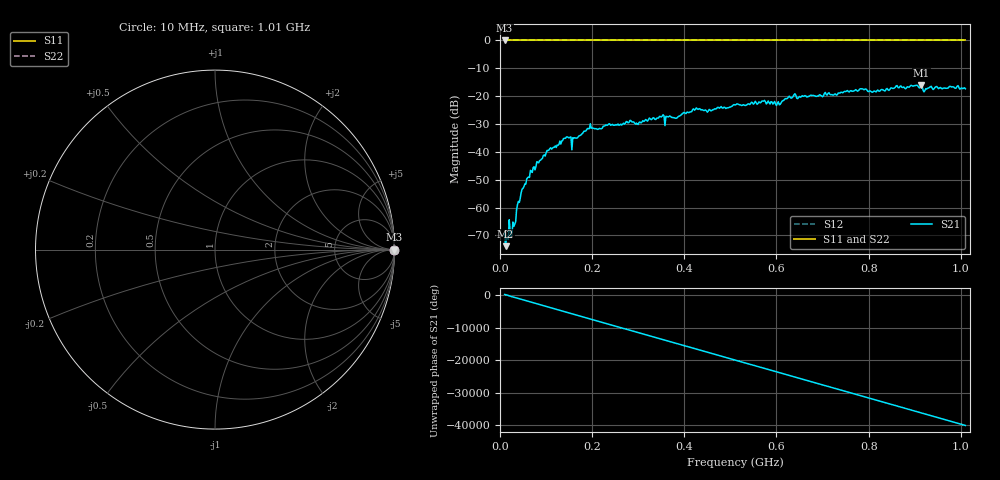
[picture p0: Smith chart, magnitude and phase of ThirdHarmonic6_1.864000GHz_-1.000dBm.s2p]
! 8/16/2025 10:32:28 PM
! C:\ANRITSUVNA\TEMP\TEMP.S2P
! CHANNEL.1
! TR.MEASUREMENT
! RAW.DATA
! RF.CORRECTION.OFF
! AVERAGING.OFF
! IF.BANDWIDTH: 5KHZ
! SWEEPTYPE:  FREQ.SWEEP(Linear)
! Reference Plane Port Info
! PORT:  PORT1  PORT2
! DISTANCE:  0  m  0  m
! TIME:  0  s  0  s
! PHASE.OFFSET:  0  deg.  0  deg.
! LOSS:  0  dB  0  dB
! REF.LOSS:  0  dB  0  dB
! REF.FREQ:  0  Hz  0  Hz
! Power Info
! POWER:  -20  dBm  -20  dBm
! EFF.POWER:  -20  dBm  -20  dBm
! SOURCE.ATTEN:  0  dB  0  dB
! TEST.ATTEN:  0  dB  0  dB
# GHZ S RI R 50.0
! FREQ.GHZ  S11RE  S11IM  S21RE  S21IM  S12RE  S12IM  S22RE  S22IM
!; PortSelection: Port_12
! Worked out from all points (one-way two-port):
!   501 points, 10 MHz to 1.01 GHz, reference 50 ohm
!   highest |S21| = -15.99 dB at 914 MHz (marker M1); lowest = -73.8 dB at 12 MHz (marker M2)
!   lowest |S11| = 0.0 dB at 10 MHz (marker M3)
!   |S11| at or under -10 dB: nowhere
!   |S22| runs from 0.0 to 0.0 dB; largest |S21 - S12| = 1.2
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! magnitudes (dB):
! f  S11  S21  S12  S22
! 10 MHz  0.0  -69.3  0.0  0.0
! 12 MHz  0.0  -73.8  0.0  0.0
! 28 MHz  0.0  -65.2  0.0  0.0
! 40 MHz  0.0  -57.7  0.0  0.0
! 50 MHz  0.0  -53.1  0.0  0.0
! 70 MHz  0.0  -47.4  0.0  0.0
! 106 MHz  0.0  -39.4  0.0  0.0
! 142 MHz  0.0  -35.1  0.0  0.0
! 160 MHz  0.0  -35.1  0.0  0.0
! 178 MHz  0.0  -33.5  0.0  0.0
! 194 MHz  0.0  -31.6  0.0  0.0
! 344 MHz  0.0  -27.8  0.0  0.0
! 382 MHz  0.0  -27.9  0.0  0.0
! 422 MHz  0.0  -25.0  0.0  0.0
! 454 MHz  0.0  -24.8  0.0  0.0
! 510 MHz  0.0  -23.2  0.0  0.0
! 604 MHz  0.0  -22.0  0.0  0.0
! 638 MHz  0.0  -19.5  0.0  0.0
! 678 MHz  0.0  -19.8  0.0  0.0
! 844 MHz  0.0  -17.9  0.0  0.0
! 914 MHz  0.0  -16.0  0.0  0.0
! 1.01 GHz  0.0  -17.3  0.0  0.0
